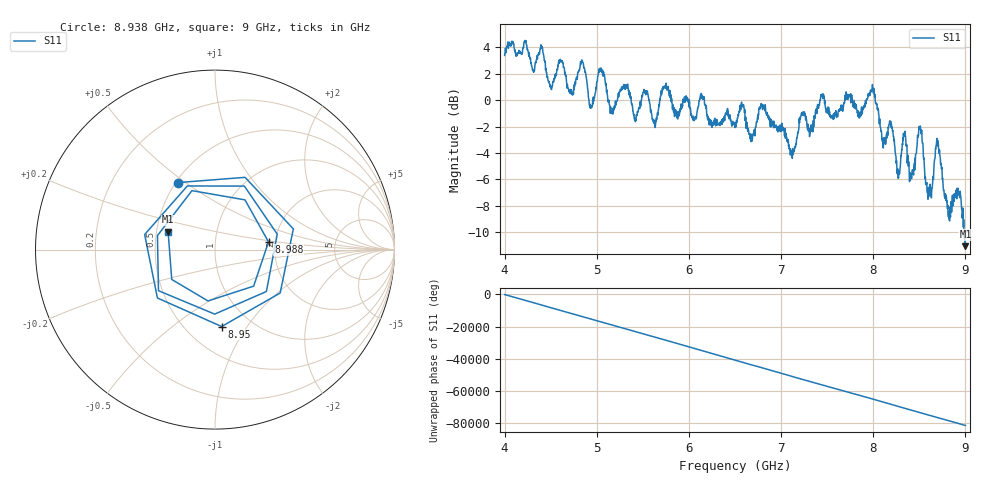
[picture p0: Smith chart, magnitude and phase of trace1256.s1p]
! Created with skrf 1.8.0 (http://scikit-rf.org).
# Hz S RI R 50.0
!freq ReS11 ImS11
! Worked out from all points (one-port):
!   1601 points, 4 GHz to 9 GHz, reference 50 ohm
!   lowest |S11| = -11.1 dB at 9 GHz (marker M1), VSWR 1.78, Z = 28.8 + j6.24 ohm
!   |S11| at or under -10 dB: 8.985276 GHz to end of sweep
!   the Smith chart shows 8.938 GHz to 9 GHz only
!   S11 on the Smith chart (normalised r, x): 8.938 GHz: 0.51, +0.47; 8.95 GHz: 0.73, -0.77; 8.988 GHz: 1.84, +0.17; 9 GHz: 0.58, +0.12
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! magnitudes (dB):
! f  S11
! 4 GHz  3.4
! 4.4 GHz  4.0
! 4.5 GHz  1.1
! 4.625 GHz  3.0
! 4.722 GHz  0.6
! 4.847 GHz  2.9
! 4.934 GHz  -0.6
! 5.041 GHz  2.3
! 5.162 GHz  -0.9
! 5.25 GHz  0.6
! 5.875 GHz  -1.2
! 6.5 GHz  -2.1
! 6.803 GHz  -0.3
! 7.125 GHz  -3.7
! 7.228 GHz  -1.1
! 7.75 GHz  0.3
! 7.994 GHz  1.0
! 8.269 GHz  -5.9
! 8.375 GHz  -4.2
! 8.419 GHz  -5.7
! 8.506 GHz  -2.2
! 8.609 GHz  -7.3
! 8.7 GHz  -3.1
! 8.812 GHz  -8.6
! 8.938 GHz  -7.4
! 8.95 GHz  -7.3
! 8.988 GHz  -10.4
! 9 GHz  -11.1
